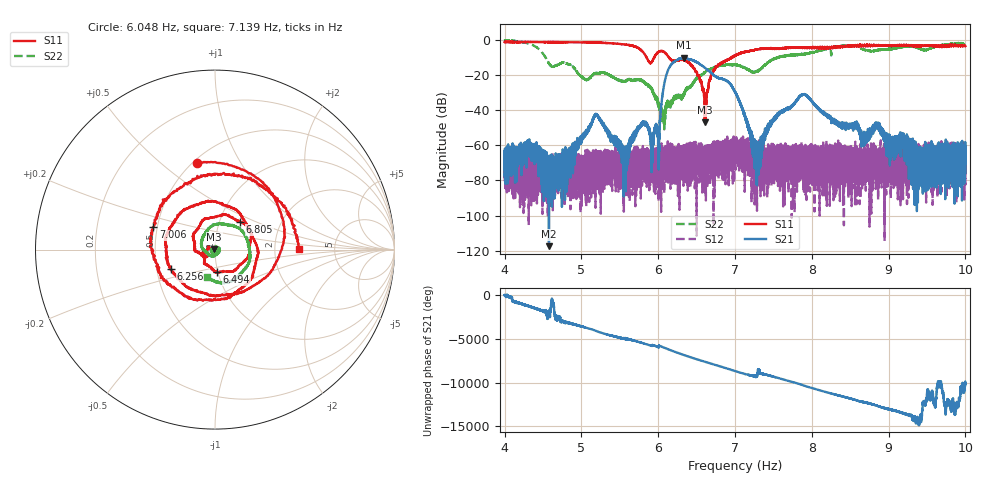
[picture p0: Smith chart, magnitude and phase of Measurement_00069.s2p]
!Created with skrf (http://scikit-rf.org).
# Hz S RI R 50.0
!freq ReS11 ImS11 ReS21 ImS21 ReS12 ImS12 ReS22 ImS22
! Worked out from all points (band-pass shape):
!   14001 points, 4 Hz to 10 Hz, reference 50 ohm
!   highest |S21| = -10.00 dB at 6.334 Hz (marker M1); lowest = -117.4 dB at 4.578 Hz (marker M2)
!   |S21| within 3 dB of the highest: 6.19 Hz to 6.519 Hz (329.3 mHz wide, 5.18 % of centre); 6.519941 Hz to 6.520021 Hz (79.75 uHz wide, 0.00122 % of centre)
!   lowest |S11| = -46.9 dB at 6.608 Hz (marker M3), VSWR 1.01, Z = 49.6 + j0.101 ohm
!   |S11| at or under -10 dB: 5.85 Hz to 5.945 Hz (95.14 mHz wide, 1.61 % of centre); 6.142 Hz to 6.955 Hz (812.5 mHz wide, 12.4 % of centre); 6.956278 Hz to 6.956307 Hz (28.24 uHz wide, 0.000406 % of centre)
!   |S22| runs from -50.8 to -0.2 dB; largest |S21 - S12| = 0.32
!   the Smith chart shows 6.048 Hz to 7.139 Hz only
!   S11 on the Smith chart (normalised r, x): 6.048 Hz: 0.52, +0.66; 6.256 Hz: 0.60, -0.14; 6.494 Hz: 0.99, -0.25; 6.805 Hz: 1.25, +0.40; 7.006 Hz: 0.48, +0.14; 7.139 Hz: 2.76, +0.03
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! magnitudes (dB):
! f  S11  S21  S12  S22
! 4 Hz  -1.1  -63.2  -72.6  -0.2
! 4.578 Hz  -1.1  -117.4  -83.2  -13.3
! 5 Hz  -1.3  -55.9  -72.5  -20.7
! 5.192 Hz  -1.4  -42.3  -65.2  -18.8
! 5.565 Hz  -2.5  -65.9  -65.5  -23.6
! 5.792 Hz  -6.2  -47.5  -69.8  -23.1
! 6 Hz  -6.8  -57.5  -72.2  -35.6
! 6.048 Hz  -6.2  -34.0  -66.7  -46.1
! 6.124 Hz  -9.0  -17.5  -64.0  -34.7
! 6.256 Hz  -11.5  -11.1  -69.2  -32.8
! 6.334 Hz  -11.3  -10.0  -62.6  -31.0
! 6.494 Hz  -18.2  -12.4  -65.2  -22.1
! 6.608 Hz  -46.9  -15.7  -68.7  -18.3
! 6.805 Hz  -13.7  -21.9  -62.2  -14.6
! 7 Hz  -8.8  -29.6  -66.9  -14.0
! 7.006 Hz  -8.7  -30.1  -64.2  -14.1
! 7.139 Hz  -6.6  -44.7  -66.6  -16.0
! 7.293 Hz  -5.2  -67.0  -72.0  -17.5
! 7.571 Hz  -4.7  -41.8  -63.4  -9.6
! 8 Hz  -4.4  -35.0  -66.4  -6.9
! 9 Hz  -3.1  -57.8  -64.5  -5.0
! 10 Hz  -3.4  -63.6  -66.2  -3.1
